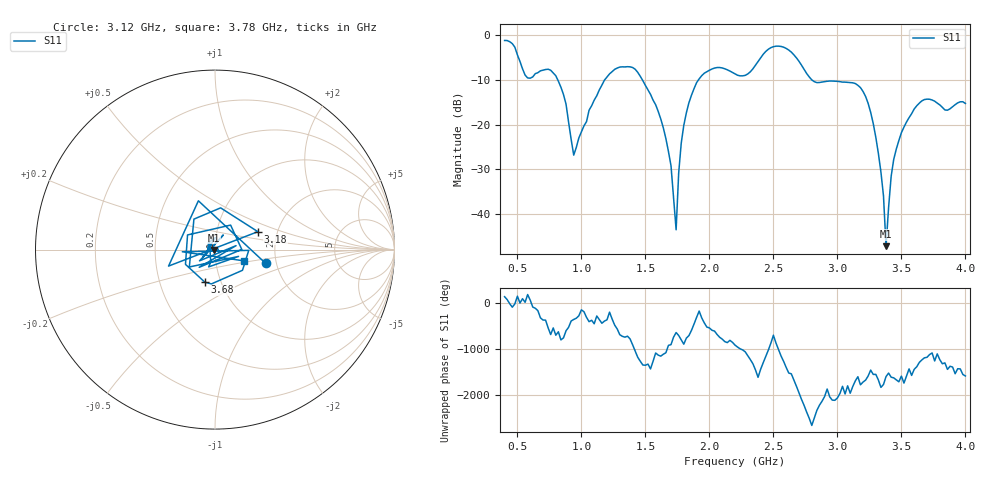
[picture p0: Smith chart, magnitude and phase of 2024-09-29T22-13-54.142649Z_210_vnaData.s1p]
!Created with skrf (http://scikit-rf.org).
# Hz S RI R 50.0
!freq ReS11 ImS11
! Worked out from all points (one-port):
!   181 points, 400 MHz to 4 GHz, reference 50 ohm
!   lowest |S11| = -47.2 dB at 3.38 GHz (marker M1), VSWR 1.01, Z = 49.6 - j0.17 ohm
!   |S11| at or under -10 dB: 814.9 MHz to 1.182 GHz (367.2 MHz wide, 36.8 % of centre); 1.476 GHz to 1.915 GHz (438.8 MHz wide, 25.9 % of centre); 2.799 GHz to end of sweep
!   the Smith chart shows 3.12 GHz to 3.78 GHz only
!   S11 on the Smith chart (normalised r, x): 3.12 GHz: 1.76, -0.30; 3.18 GHz: 1.58, +0.34; 3.68 GHz: 0.84, -0.32; 3.78 GHz: 1.37, -0.18
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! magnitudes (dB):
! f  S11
! 400 MHz  -1.2
! 580 MHz  -9.6
! 760 MHz  -7.9
! 860 MHz  -13.3
! 940 MHz  -26.8
! 1.14 GHz  -12.3
! 1.3 GHz  -7.1
! 1.42 GHz  -7.6
! 1.6 GHz  -17.1
! 1.7 GHz  -29.2
! 1.74 GHz  -43.5
! 1.76 GHz  -30.9
! 1.8 GHz  -20.2
! 1.9 GHz  -10.6
! 2.2 GHz  -8.7
! 2.66 GHz  -4.4
! 2.82 GHz  -10.4
! 3.1 GHz  -10.6
! 3.12 GHz  -10.7
! 3.18 GHz  -11.7
! 3.3 GHz  -22.8
! 3.36 GHz  -35.9
! 3.38 GHz  -47.2
! 3.44 GHz  -27.8
! 3.56 GHz  -18.5
! 3.68 GHz  -14.4
! 3.78 GHz  -15.2
! 4 GHz  -15.3
